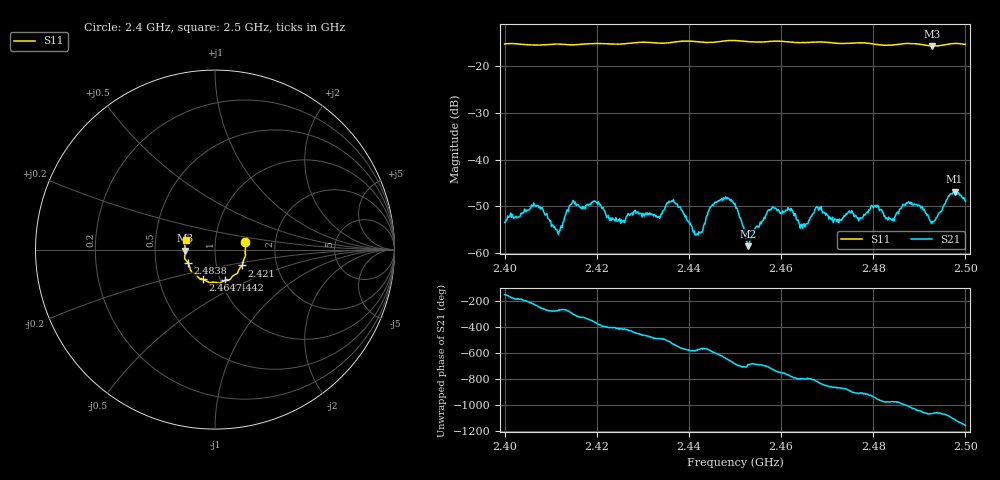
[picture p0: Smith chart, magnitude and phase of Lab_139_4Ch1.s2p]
# Hz S RI R 50
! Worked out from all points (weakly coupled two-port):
!   601 points, 2.4 GHz to 2.5 GHz, reference 50 ohm
!   highest |S21| = -46.83 dB at 2.4977 GHz (marker M1); lowest = -58.5 dB at 2.4528 GHz (marker M2)
!   lowest |S11| = -15.6 dB at 2.4928 GHz (marker M3), VSWR 1.40, Z = 35.8 - j0.39 ohm
!   |S11| at or under -10 dB: start of sweep to end of sweep
!   S12 and S22 are empty: the file has one direction only
!   S11 on the Smith chart (normalised r, x): 2.4 GHz: 1.40, +0.12; 2.421 GHz: 1.33, -0.24; 2.4442 GHz: 1.05, -0.37; 2.4647 GHz: 0.83, -0.29; 2.4838 GHz: 0.73, -0.11; 2.5 GHz: 0.72, +0.08
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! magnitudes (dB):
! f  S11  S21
! 2.4 GHz  -15.2  -53.4
! 2.4068 GHz  -15.4  -49.9
! 2.4115 GHz  -15.2  -55.5
! 2.4145 GHz  -15.4  -49.5
! 2.4167 GHz  -15.3  -50.3
! 2.421 GHz  -15.1  -50.1
! 2.4333 GHz  -15.0  -52.2
! 2.4368 GHz  -14.8  -49.2
! 2.4418 GHz  -14.7  -55.8
! 2.4442 GHz  -14.9  -51.2
! 2.45 GHz  -14.5  -49.4
! 2.4528 GHz  -14.7  -58.5
! 2.4582 GHz  -14.6  -50.0
! 2.4647 GHz  -14.9  -54.7
! 2.4667 GHz  -14.8  -52.0
! 2.4807 GHz  -15.3  -50.2
! 2.4833 GHz  -15.5  -52.3
! 2.4838 GHz  -15.5  -52.7
! 2.4878 GHz  -15.1  -49.3
! 2.4928 GHz  -15.6  -53.2
! 2.4977 GHz  -15.1  -46.8
! 2.5 GHz  -15.3  -48.9
